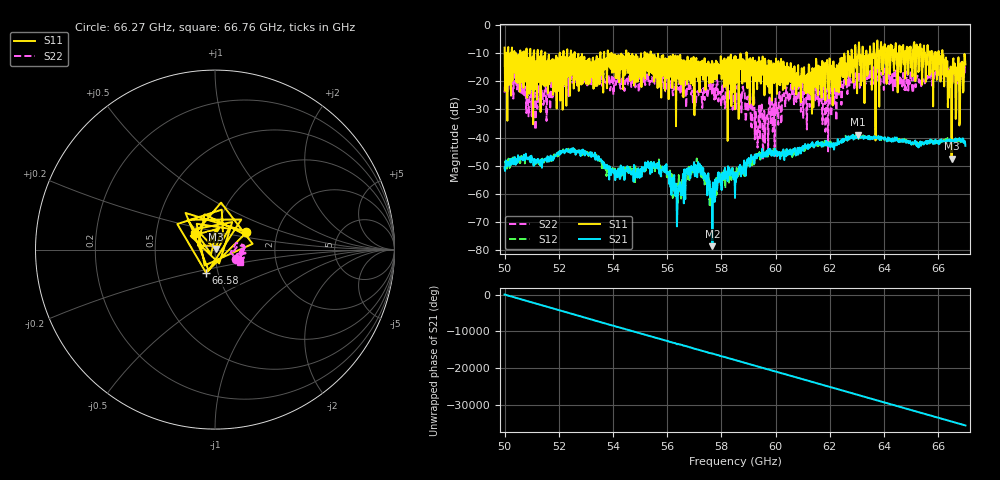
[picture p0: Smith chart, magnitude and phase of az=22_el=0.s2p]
!Created with skrf (http://scikit-rf.org).
# GHz S RI R 50.0
!freq ReS11 ImS11 ReS21 ImS21 ReS12 ImS12 ReS22 ImS22
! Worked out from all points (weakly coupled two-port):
!   1001 points, 50 GHz to 67 GHz, reference 50 ohm
!   highest |S21| = -38.93 dB at 63.04 GHz (marker M1); lowest = -78.5 dB at 57.67 GHz (marker M2)
!   lowest |S11| = -47.5 dB at 66.49 GHz (marker M3), VSWR 1.01, Z = 50.3 + j0.313 ohm
!   |S11| at or under -10 dB: 52.58 GHz to 53.53 GHz (949.5 MHz wide, 1.79 % of centre); 55.39 GHz to 58.92 GHz (3.534 GHz wide, 6.18 % of centre); 58.93 GHz to 62.66 GHz (3.737 GHz wide, 6.15 % of centre) (the widest 3 of 64)
!   |S22| runs from -47.4 to -13.2 dB; largest |S21 - S12| = 0.0021
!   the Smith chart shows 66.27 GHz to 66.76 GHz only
!   S11 on the Smith chart (normalised r, x): 66.27 GHz: 1.39, +0.29; 66.58 GHz: 0.88, -0.23; 66.76 GHz: 0.78, +0.14
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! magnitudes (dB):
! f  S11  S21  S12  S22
! 50 GHz  -8.1  -50.9  -50.2  -24.1
! 50.15 GHz  -21.4  -48.7  -47.9  -20.6
! 51.07 GHz  -10.0  -50.0  -47.9  -25.7
! 52.84 GHz  -12.1  -44.4  -44.9  -19.0
! 54.16 GHz  -10.9  -54.0  -53.4  -20.2
! 55.68 GHz  -13.4  -50.6  -49.5  -21.0
! 56.36 GHz  -14.6  -71.5  -56.5  -23.4
! 57.21 GHz  -14.9  -50.3  -50.3  -24.1
! 57.67 GHz  -13.4  -78.5  -60.6  -23.5
! 58.11 GHz  -12.0  -54.7  -53.7  -25.1
! 58.5 GHz  -30.0  -61.4  -53.3  -24.8
! 59.61 GHz  -12.0  -46.7  -45.8  -41.8
! 60.34 GHz  -14.8  -45.0  -45.2  -26.4
! 61.34 GHz  -31.6  -42.4  -43.7  -26.1
! 61.88 GHz  -16.4  -42.7  -42.9  -23.6
! 63.04 GHz  -10.8  -38.9  -39.8  -19.7
! 64.18 GHz  -12.1  -40.1  -41.2  -17.2
! 66.27 GHz  -13.9  -41.7  -40.6  -17.8
! 66.49 GHz  -47.5  -41.0  -40.9  -15.3
! 66.58 GHz  -17.2  -41.4  -40.5  -15.8
! 66.76 GHz  -16.9  -40.9  -41.5  -16.1
! 67 GHz  -14.1  -42.9  -41.4  -14.5
